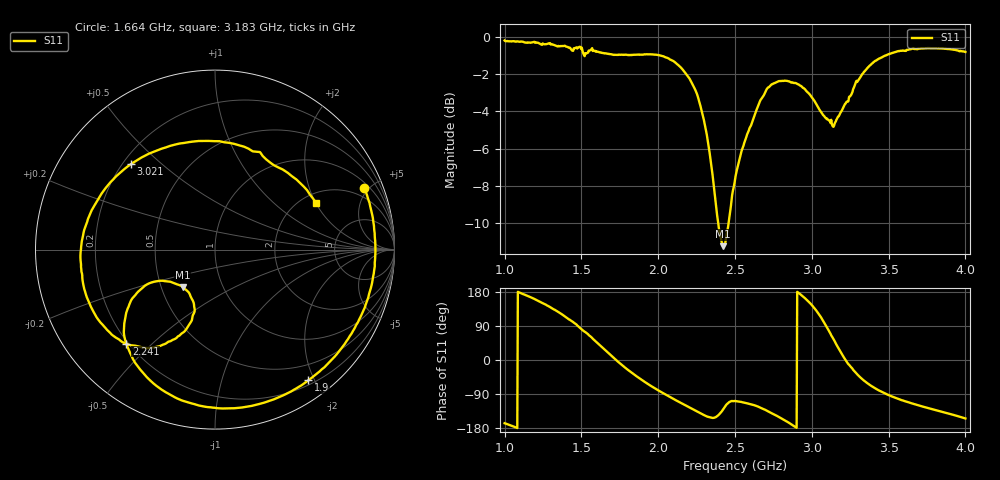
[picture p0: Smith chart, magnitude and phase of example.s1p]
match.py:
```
import io
import itertools
import re
import threading
from http import HTTPStatus
from pathlib import Path, PurePath

import antenna_match_optimizer as mopt
import antenna_match_optimizer.plotting as mplt
import matplotlib.pyplot as plt
import numpy as np
import schemdraw
import schemdraw.elements as elm
import skrf as rf
import stopit
from flask import (
    Blueprint,
    current_app,
    flash,
    g,
    redirect,
    render_template,
    request,
    send_from_directory,
    url_for,
)
from matplotlib.figure import Figure
from werkzeug.utils import secure_filename


class OptimizeError(Exception):
    pass


example_cache = None

bp = Blueprint("match", __name__, url_prefix="/")


@bp.before_request
def set_timeout():
    timeout = float(current_app.config.get("TIMEOUT", 10))
    handler_thread = threading.current_thread().ident
    print(f"before request {timeout} {handler_thread}")

    def send_signal():
        print("timeout, sending signal")
        stopit.async_raise(handler_thread, stopit.TimeoutException)

    g.timeout_timer = threading.Timer(timeout, send_signal)
    g.timeout_timer.start()


@bp.after_request
def stop_timeout(resp):
    g.timeout_timer.cancel()
    return resp


@bp.errorhandler(stopit.TimeoutException)
def timeouterror(error):
    flash("Optimizing this file and frequency range took too long")
    return redirect(request.url, code=HTTPStatus.SEE_OTHER)


@bp.route("/")
@bp.route("/", endpoint="index")
def upload():
    pi_network = save_schematic(plot_pi_schematic())
    share_dir = current_app.config.get("SHARE_DIR", None)
    sharing_enabled = (
        share_dir is not None and (Path(current_app.root_path) / share_dir).is_dir()
    )
    return render_template(
        "upload.html",
        pi_network=pi_network,
        sharing_enabled=sharing_enabled,
    )


@bp.route("/example")
def example():
    global example_cache
    if example_cache is None:
        example_cache = optimize_internal(
            touchstone_io=str(Path(__file__).with_name("example.s1p")),
            name="Example Antenna",
            frequency="2.4-2.5GHz",
            title=None,
            max_points=51,
        )
    return render_template("optimize.html", **example_cache)


@bp.route("/optimize", methods=["GET", "POST"])
def optimize():
    if request.method != "POST":
        return redirect(url_for(".upload"), code=HTTPStatus.SEE_OTHER)

    try:
        touchstone = request.files["touchstone"]
    except Exception:
        flash("No Touchstone file uploaded")
        return redirect(url_for(".upload"), code=HTTPStatus.SEE_OTHER)

    touchstone_name = PurePath(touchstone.filename or "Noname")
    touchstone_data = touchstone.read().decode("utf-8")
    touchstone_io = io.StringIO(touchstone_data)
    touchstone_io.name = touchstone_name.name

    frequency = request.form.get("frequency")
    if frequency is None or frequency == "":
        flash("You need to specify a frequency range")
        return redirect(url_for(".upload"), code=HTTPStatus.SEE_OTHER)

    try:
        template_args = optimize_internal(
            touchstone_io=touchstone_io,
            name=touchstone_name.stem,
            frequency=frequency,
            title=request.form.get("title", None),
            max_points=current_app.config.get("MAX_FREQ_POINTS", 51),
        )
    except OptimizeError as e:
        current_app.logger.error(e.__cause__)
        flash(str(e))
        return redirect(url_for(".upload"), code=HTTPStatus.SEE_OTHER)

    response = render_template("optimize.html", **template_args)

    if request.form.get("share", False):
        return store_and_redirect(touchstone_name.stem, frequency, response)
    else:
        return response


def store_and_redirect(name: str, frequency: str, response: str):
    try:
        share_dir = Path(current_app.root_path) / current_app.config["SHARE_DIR"]
        base_name = f"{name}-{frequency}"
        clean_prefix = secure_filename(base_name)

        for serial in range(1, 9999999):
            final_name = f"{clean_prefix}-{serial}"
            try:
                with open(share_dir / final_name, mode="xt") as f:
                    f.write(response)
                return redirect(
                    url_for(".share", name=final_name),
                    code=HTTPStatus.SEE_OTHER,
                )
            except FileExistsError:
                pass
        raise RuntimeError(f"could not generate unique filename for {base_name}")
    except Exception as e:
        current_app.logger.error(e)
        return response  # silent fallback


@bp.route("/share/<name>")
def share(name: str):
    return send_from_directory(
        directory=current_app.config["SHARE_DIR"],
        path=name,
        mimetype="text/html",
    )


def optimize_internal(
    touchstone_io: str | io.StringIO,
    name: str,
    frequency: str,
    title: str | None,
    max_points: int,
):
    optimize_messages: list[str] = []
    title = title or name

    try:
        base = rf.Network(
            file=touchstone_io,
            name=title,
            f_unit="GHz",
        )
    except Exception as e:
        raise OptimizeError("Could not parse Touchstone file") from e

    if base.number_of_ports != 1:
        optimize_messages.append(
            f"Touchstone file has {base.number_of_ports} ports - using S11 for analysis"
        )
        base = base.s11

    try:
        args = mopt.OptimizerArgs(ntwk=base, frequency=frequency, max_points=max_points)
    except Exception as e:
        raise OptimizeError("Frequency range is invalid") from e

    if len(args.bandlimited_ntwk.frequency) != len(args.ntwk.frequency[args.frequency]):
        optimize_messages.append(
            f"Frequency points in optimization reduced from \
            {len(args.ntwk.frequency[args.frequency])} to \
            {len(args.bandlimited_ntwk.frequency)}"
        )

    ideal = mopt.optimize(args)
    results = mopt.evaluate_components(args, *ideal)
    best_narrow = results[0]
    best_wide = mopt.expand_result(args, results[0])

    base_smith_fig = mplt.plot_smith(base, highlight=args.bandlimited_ntwk)
    base_smith = plot_to_svg(base_smith_fig)

    base_vswr_fig = mplt.plot_vswr(args.bandlimited_ntwk)
    worst_vswr = base_vswr_fig.gca().get_ylim()[1]
    base_vswr = plot_to_svg(base_vswr_fig)

    best_smith_fig = mplt.plot_smith(best_wide.ntwk, highlight=best_narrow.ntwk)
    best_smith_fig.gca().get_legend().remove()
    best_smith = plot_to_svg(best_smith_fig)

    best_vswr_fig, ax = plt.subplots(figsize=(3.5, 2.5), layout="constrained")
    mplt.plot_with_tolerance(best_narrow.ntwk, ax=ax)
    ax.set_ylim(bottom=1.0, top=worst_vswr)
    best_vswr = plot_to_svg(best_vswr_fig)

    best_schema = save_schematic(mplt.plot_schematic(best_narrow, antenna_name=title))

    results_vswr = plot_architectures(
        sorted(results, key=lambda r: r.arch.value),
        func="s_vswr",
        arch_limit=3,
    )

    plt.close("all")

    return {
        "optimize_messages": optimize_messages,
        "base_name": base.name,
        "frequency": frequency,
        "title": title,
        "base_smith": base_smith,
        "base_vswr": base_vswr,
        "best_name": best_narrow.ntwk[0].name,
        "best_smith": best_smith,
        "best_vswr": best_vswr,
        "best_schema": best_schema,
        "results_vswr": results_vswr,
    }


def plot_to_svg(fig: Figure) -> str:
    buf = io.BytesIO()
    fig.savefig(buf, format="svg")
    str = buf.getvalue().decode("utf-8")
    str = re.sub(r'(<svg [^>]*?) width="[^"]+" height="[^"]+"', r"\1", str)
    str = re.sub(
        r'(font: [^ ;]+) (?:[^;"]*)', r"\1 var(--pico-font-family-sans-serif)", str
    )
    str = re.sub(r"(stroke|fill): #ffffff", r"\1: var(--pico-background-color)", str)
    str = re.sub(r"(stroke|fill): #555555", r"\1: var(--pico-muted-color)", str)
    str = re.sub(r"(stroke|fill): #eeeeee", r"\1: var(--pico-muted-border-color)", str)
    str = re.sub(r"(stroke|fill): #000000", r"\1: var(--pico-color)", str)
    return str


def plot_architectures(
    results: list[mopt.OptimizeResultToleranced],
    func: str,
    arch_limit: int | None,
):
    plots = []
    grouped_results = itertools.groupby(results, lambda r: r.arch)
    limited_group_results = (
        itertools.islice(r, arch_limit) for _, r in grouped_results
    )
    limited_results = list(itertools.chain.from_iterable(limited_group_results))

    top_bound = max(
        np.max(getattr(r.ntwk, f"max_{func}").s_re) for r in limited_results
    )
    best_top_bound = min(
        np.min(getattr(r.ntwk, f"max_{func}").s_re) for r in limited_results
    )
    top_bound = np.min([top_bound, best_top_bound * 3])

    for arch, arch_results in itertools.groupby(limited_results, lambda r: r.arch):
        fig, ax = plt.subplots(figsize=(3.5, 2.5), layout="constrained")
        for combination in arch_results:
            mopt.plotting.plot_with_tolerance(combination.ntwk, func=func, ax=ax)
            ax.set_ylim(bottom=1.0, top=top_bound)
        ax.legend(
            loc="upper center",
            bbox_to_anchor=(0.5, 1.00),
            ncol=1,
            fancybox=True,
        )
        plots.append({"svg": plot_to_svg(fig), "name": str(arch)})
    return plots


def save_schematic(schema: schemdraw.Drawing) -> str:
    svg_str: str
    svg_str = schema.get_imagedata("svg").decode("utf-8")
    svg_str = re.sub('"sans"', '"sans-serif"', svg_str)
    svg_str = re.sub(r'(<svg [^>]*?) height="[^"]+" width="[^"]+"', r"\1", svg_str)
    svg_str = re.sub(":black;", ":currentColor;", svg_str)
    svg_str = re.sub('="black"', '="currentColor"', svg_str)
    svg_str = re.sub(
        'font-family="sans-serif"',
        "font-family=var(--pico-font-family-sans-serif)",
        svg_str,
    )

    return svg_str


def plot_pi_schematic() -> schemdraw.Drawing:
    d: schemdraw.Drawing
    with schemdraw.Drawing(show=False) as d:
        d.config(unit=2)

        elm.cables.Coax(length=2.5).right()
        elm.Dot()
        d.push()
        elm.RBox().down()
        elm.Ground(lead=False)
        d.pop()
        series = elm.RBox()
        elm.ZLabel(hofst=-0.5).at(series).label("$Z_{ant}$")
        elm.Dot()
        d.push()
        elm.RBox().down()
        elm.Ground(lead=False)
        d.pop()
        elm.Line(unit=0.5)
        elm.Antenna()

    return d
```
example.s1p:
!Created with skrf (http://scikit-rf.org).
# Hz S RI R 50.0
!freq ReS11 ImS11
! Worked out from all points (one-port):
!   801 points, 1 GHz to 4 GHz, reference 50 ohm
!   lowest |S11| = -11.2 dB at 2.421 GHz (marker M1), VSWR 1.76, Z = 32.2 - j14.5 ohm
!   |S11| at or under -10 dB: 2.391 GHz to 2.458 GHz (67.27 MHz wide, 2.77 % of centre)
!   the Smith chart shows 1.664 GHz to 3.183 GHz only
!   S11 on the Smith chart (normalised r, x): 1.664 GHz: 1.29, +4.68; 1.9 GHz: 0.26, -1.91; 2.241 GHz: 0.19, -0.42; 3.021 GHz: 0.23, +0.40; 3.183 GHz: 2.36, +2.01
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1e9  -0.9508 -0.2224
1.2175e9  -0.8793 0.392
1.42e9  -0.2702 0.8933
1.66375e9  0.8317 0.3448
1.9e9  0.5196 -0.7279
2.00125e9  0.15 -0.8797
2.24125e9  -0.494 -0.524
2.42125e9  -0.1796 -0.2076
2.70625e9  -0.4972 -0.5248
3.0025e9  -0.5525 0.4068
3.02125e9  -0.4699 0.4751
3.1825e9  0.5618 0.262
3.44875e9  0.1106 -0.8696
4e9  -0.8197 -0.3948
